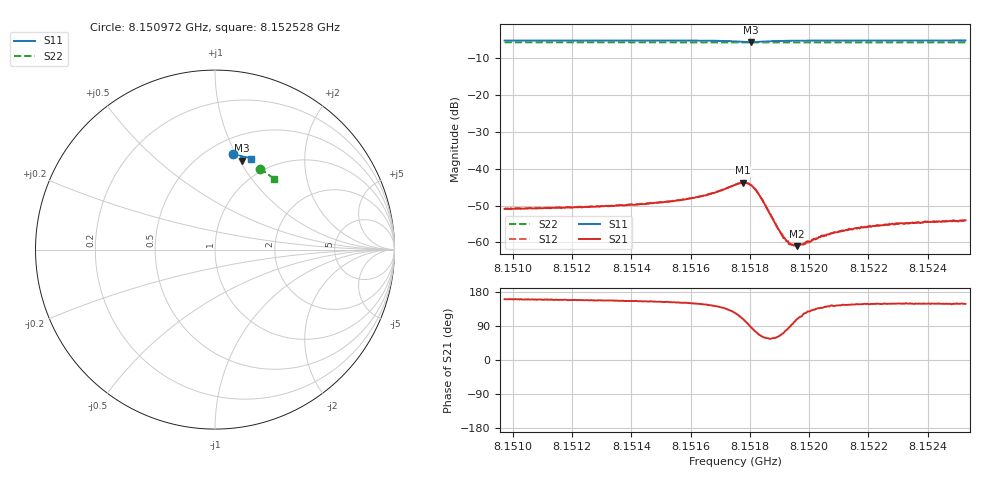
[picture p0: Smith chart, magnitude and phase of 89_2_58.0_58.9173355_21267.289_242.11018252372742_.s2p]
#  HZ  S  RI  R  50.00
! Rohde & Schwarz Vector Network Analyzer
! Rohde-Schwarz,ZNB20-2Port,1311601062101988,3.16
! Created: UTC 3/21/2024, 12:54:13 AM
! freq[Hz]  re:S11  im:S11  re:S21  im:S21  re:S12  im:S12  re:S22  im:S22
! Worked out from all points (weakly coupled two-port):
!   401 points, 8.150972 GHz to 8.152528 GHz, reference 50 ohm
!   highest |S21| = -43.82 dB at 8.151777 GHz (marker M1); lowest = -61.0 dB at 8.15196 GHz (marker M2)
!   lowest |S11| = -5.7 dB at 8.151804 GHz (marker M3), VSWR 3.14, Z = 37.8 + j51.1 ohm
!   |S11| at or under -10 dB: nowhere
!   |S22| runs from -5.8 to -5.8 dB; largest |S21 - S12| = 0.00013
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8.1509717e9  0.1016 0.533  -0.00268 0.000957  -0.00271 0.00101  0.2495 0.4497
8.1512324e9  0.1204 0.5295  -0.00276 0.00112  -0.0028 0.0012  0.2639 0.4411
8.151493e9  0.1401 0.5246  -0.00311 0.00153  -0.00312 0.00158  0.2781 0.4318
8.151637e9  0.1527 0.5193  -0.00357 0.00227  -0.00356 0.00236  0.2858 0.4265
8.1516875e9  0.1581 0.5153  -0.00379 0.00297  -0.00374 0.00306  0.2886 0.4244
8.1517498e9  0.1622 0.5044  -0.00338 0.00499  -0.00335 0.00507  0.2915 0.4216
8.151777e9  0.1587 0.497  -0.002 0.00613  -0.00192 0.0062  0.2928 0.4205
8.1517926e9  0.1535 0.4947  -0.00068 0.00628  -0.000603 0.00636  0.2933 0.42
8.1518043e9  0.1489 0.4951  0.000405 0.00593  0.000458 0.00598  0.2938 0.4198
8.1518198e9  0.144 0.4986  0.00138 0.00495  0.0015 0.00496  0.2944 0.4194
8.1518354e9  0.1423 0.5036  0.00176 0.00376  0.00181 0.00375  0.2951 0.419
8.1518976e9  0.1492 0.5153  0.000689 0.00132  0.000696 0.00131  0.2986 0.417
8.1519171e9  0.1519 0.5165  0.00031 0.00111  0.000315 0.00108  0.2997 0.4164
8.1519404e9  0.1551 0.517  -4.92e-05 0.000922  -6.61e-06 0.000954  0.3011 0.4154
8.1519599e9  0.1574 0.5173  -0.000278 0.000846  -0.000242 0.000862  0.3021 0.4147
8.1519793e9  0.1596 0.5171  -0.000465 0.000814  -0.000461 0.000837  0.303 0.4139
8.1520104e9  0.1629 0.5171  -0.000712 0.000806  -0.000716 0.000817  0.3048 0.4126
8.1520416e9  0.1657 0.5167  -0.000912 0.000836  -0.00091 0.000797  0.3063 0.4114
8.1521271e9  0.1731 0.5152  -0.00121 0.000841  -0.0012 0.000842  0.3108 0.4081
8.1522711e9  0.184 0.5122  -0.00149 0.000914  -0.00152 0.000949  0.3181 0.4021
8.1523878e9  0.1923 0.5095  -0.00162 0.000984  -0.00161 0.00102  0.3237 0.3975
8.1525278e9  0.202 0.5062  -0.00169 0.00105  -0.00168 0.00106  0.3305 0.3915
